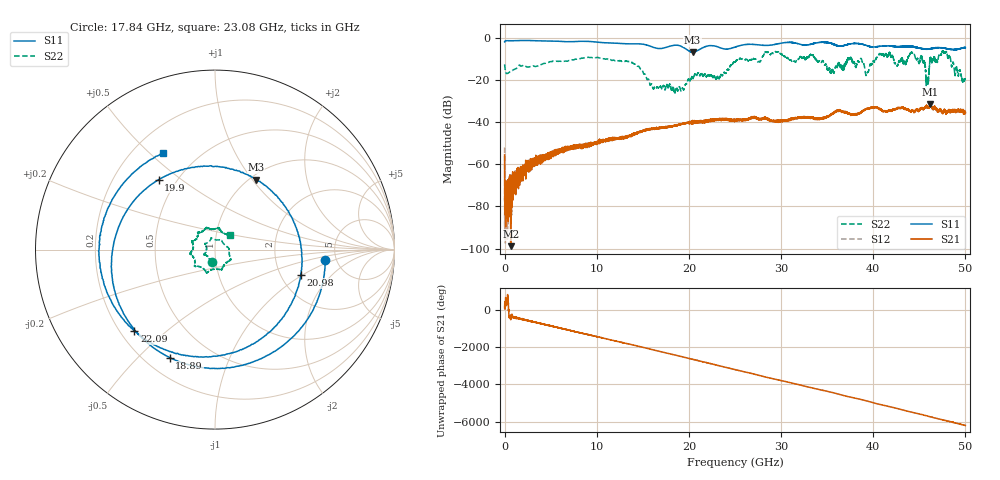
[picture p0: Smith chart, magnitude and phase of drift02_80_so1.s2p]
!Created with skrf (http://scikit-rf.org).
# Hz S RI R 50.0
!freq ReS11 ImS11 ReS21 ImS21 ReS12 ImS12 ReS22 ImS22
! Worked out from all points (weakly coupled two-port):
!   10001 points, 300 kHz to 50 GHz, reference 50 ohm
!   highest |S21| = -31.60 dB at 46.21 GHz (marker M1); lowest = -98.9 dB at 660.3 MHz (marker M2)
!   lowest |S11| = -6.9 dB at 20.4 GHz (marker M3), VSWR 2.65, Z = 53.4 + j52.2 ohm
!   |S11| at or under -10 dB: nowhere
!   |S22| runs from -26.7 to -6.0 dB; largest |S21 - S12| = 0.0037
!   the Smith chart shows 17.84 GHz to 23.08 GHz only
!   S11 on the Smith chart (normalised r, x): 17.84 GHz: 4.07, -0.77; 18.89 GHz: 0.30, -0.62; 19.9 GHz: 0.40, +0.42; 20.98 GHz: 2.57, -0.96; 22.09 GHz: 0.26, -0.39; 23.08 GHz: 0.32, +0.55
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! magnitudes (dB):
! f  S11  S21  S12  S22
! 300 kHz  -2.1  -55.6  -52.1  -12.7
! 255.3 MHz  -1.4  -75.5  -72.6  -17.0
! 660.3 MHz  -1.5  -98.9  -68.3  -16.0
! 3.05 GHz  -1.4  -59.1  -59.0  -13.5
! 8.335 GHz  -1.7  -51.7  -51.5  -9.7
! 13.7 GHz  -2.9  -46.5  -46.5  -11.7
! 16.67 GHz  -5.2  -42.9  -42.9  -23.7
! 17.84 GHz  -4.2  -42.4  -42.2  -22.9
! 18.89 GHz  -3.7  -41.3  -41.3  -24.0
! 19.9 GHz  -6.0  -40.4  -40.2  -20.0
! 20.4 GHz  -6.9  -39.6  -40.0  -19.2
! 20.98 GHz  -6.1  -40.0  -39.9  -16.7
! 22.09 GHz  -3.9  -39.6  -39.3  -17.5
! 23.08 GHz  -4.3  -38.7  -38.9  -18.8
! 25 GHz  -4.5  -38.8  -39.1  -11.6
! 33.34 GHz  -3.0  -37.9  -38.0  -8.3
! 39.33 GHz  -3.8  -33.9  -33.7  -16.7
! 41.67 GHz  -3.9  -34.3  -34.8  -7.7
! 45.87 GHz  -5.4  -33.1  -33.0  -20.9
! 46.21 GHz  -5.3  -31.6  -31.7  -9.5
! 47.75 GHz  -5.0  -35.4  -34.3  -7.2
! 50 GHz  -4.7  -35.4  -35.5  -18.6
